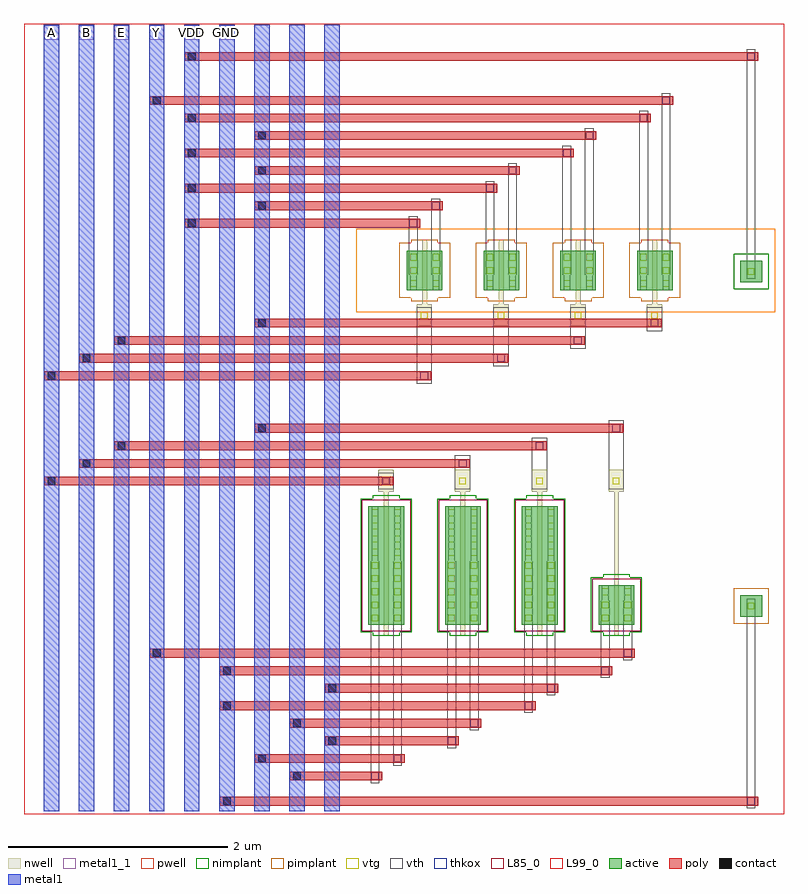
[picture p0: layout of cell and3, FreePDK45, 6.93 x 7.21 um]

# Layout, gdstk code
import gdstk
lib = gdstk.Library(unit=1e-6, precision=5e-10)
def R(c, l, rs):  # rectangles x0, y0, x1, y1
    for r in rs: c.add(gdstk.rectangle(r[:2], r[2:], *l))
def A(c, l, x, y, w, h, nx, ny, dx, dy):  # array of equal rectangles
    R(c, l, [(x+i*dx, y+j*dy, x+i*dx+w, y+j*dy+h) for i in range(nx) for j in range(ny)])
active = (1, 0)
pwell = (2, 0)
nwell = (3, 0)
nimplant = (4, 0)
pimplant = (5, 0)
vtg = (6, 0)
vth = (7, 0)
thkox = (8, 0)
poly = (9, 0)
contact = (10, 0)
metal1 = (11, 0)
metal1_1 = (11, 1)
L85_0 = (85, 0)
L99_0 = (99, 0)

nmos1v_cdns_794040155650 = lib.new_cell('nmos1v_CDNS_794040155650')
R(nmos1v_cdns_794040155650, active, [(-0.14,0,0,1.08), (0,0,0.045,1.08), (0.045,0,0.185,1.08)])
R(nmos1v_cdns_794040155650, nwell, [(0,-0.1,0.045,-0.05), (0,-0.05,0.045,0), (0,0,0.045,1.08), (0,1.08,0.045,1.13), (0,1.13,0.045,1.18)])
R(nmos1v_cdns_794040155650, nimplant, [(-0.1,-0.1,0.145,1.18), (-0.21,-0.07,0.255,1.15)])
A(nmos1v_cdns_794040155650, vtg, -0.11, 0.03, 0.06, 0.06, 1, 9, 0, 0.12)
A(nmos1v_cdns_794040155650, vtg, 0.095, 0.03, 0.06, 0.06, 1, 9, 0, 0.12)
R(nmos1v_cdns_794040155650, vth, [(-0.11,0,-0.05,1.08), (0.095,0,0.155,1.08)])
R(nmos1v_cdns_794040155650, L85_0, [(-0.2,-0.06,0.245,1.14)])

nmos1v_cdns_794040155651 = lib.new_cell('nmos1v_CDNS_794040155651')
R(nmos1v_cdns_794040155651, active, [(-0.14,0,0,0.36), (0,0,0.045,0.36), (0.045,0,0.185,0.36)])
R(nmos1v_cdns_794040155651, nwell, [(0,-0.1,0.045,-0.05), (0,-0.05,0.045,0), (0,0,0.045,0.36), (0,0.36,0.045,0.41), (0,0.41,0.045,0.46)])
R(nmos1v_cdns_794040155651, nimplant, [(-0.1,-0.1,0.145,0.46), (-0.21,-0.07,0.255,0.43)])
A(nmos1v_cdns_794040155651, vtg, -0.11, 0.03, 0.06, 0.06, 1, 3, 0, 0.12)
A(nmos1v_cdns_794040155651, vtg, 0.095, 0.03, 0.06, 0.06, 1, 3, 0, 0.12)
R(nmos1v_cdns_794040155651, vth, [(-0.11,0,-0.05,0.36), (0.095,0,0.155,0.36)])
R(nmos1v_cdns_794040155651, L85_0, [(-0.2,-0.06,0.245,0.42)])

pmos1v_cdns_794040155652 = lib.new_cell('pmos1v_CDNS_794040155652')
R(pmos1v_cdns_794040155652, active, [(-0.14,0,0,0.36), (0,0,0.045,0.36), (0.045,0,0.185,0.36)])
R(pmos1v_cdns_794040155652, pwell, [(-0.2,-0.06,0.245,0.42)])
R(pmos1v_cdns_794040155652, nwell, [(0,-0.1,0.045,-0.05), (0,-0.05,0.045,0), (0,0,0.045,0.36), (0,0.36,0.045,0.41), (0,0.41,0.045,0.46)])
R(pmos1v_cdns_794040155652, pimplant, [(-0.1,-0.1,0.145,0.46), (-0.21,-0.07,0.255,0.43)])
A(pmos1v_cdns_794040155652, vtg, -0.11, 0.03, 0.06, 0.06, 1, 3, 0, 0.12)
A(pmos1v_cdns_794040155652, vtg, 0.095, 0.03, 0.06, 0.06, 1, 3, 0, 0.12)
R(pmos1v_cdns_794040155652, vth, [(-0.11,0,-0.05,0.36), (0.095,0,0.155,0.36)])

and3 = lib.new_cell('and3')
R(and3, active, [(6.53,1.8,6.73,2), (6.53,4.85,6.73,5.05)])
R(and3, pwell, [(3.03,4.58,6.85,5.34)])
A(and3, nwell, 3.28, 2.86, 0.045, 0.28, 3, 1, 0.7, 0)
A(and3, nwell, 3.23, 2.94, 0.14, 0.2, 4, 1, 0.7, 0)
A(and3, nwell, 3.58, 4.45, 0.14, 0.2, 4, 1, 0.7, 0)
A(and3, nwell, 3.63, 4.45, 0.045, 0.28, 4, 1, 0.7, 0)
R(and3, nwell, [(5.38,2.14,5.425,3.14)])
R(and3, nimplant, [(6.47,4.79,6.79,5.11)])
R(and3, pimplant, [(6.47,1.74,6.79,2.06)])
A(and3, vtg, 3.27, 3.01, 0.06, 0.06, 4, 1, 0.7, 0)
A(and3, vtg, 3.62, 4.52, 0.06, 0.06, 4, 1, 0.7, 0)
R(and3, vtg, [(6.6,1.87,6.66,1.93), (6.6,4.92,6.66,4.98)])
A(and3, vth, 3.23, 2.965, 0.14, 0.15, 4, 1, 0.7, 0)
A(and3, vth, 3.58, 4.475, 0.14, 0.15, 4, 1, 0.7, 0)
R(and3, vth, [(6.59,0.055,6.67,0.185), (6.59,0.08,6.67,1.94), (3.16,0.285,3.24,0.415), (3.16,0.31,3.24,2.31), (3.365,0.445,3.445,0.575), (3.365,0.47,3.445,2.31), (3.86,0.605,3.94,0.735), (3.86,0.63,3.94,2.31), (4.065,0.765,4.145,0.895), (4.065,0.79,4.145,2.31), (4.56,0.925,4.64,1.055), (4.56,0.95,4.64,2.31), (4.765,1.085,4.845,1.215), (4.765,1.11,4.845,2.31), (5.26,1.245,5.34,1.375), (5.26,1.27,5.34,1.95), (5.465,1.405,5.545,1.535), (5.465,1.43,5.545,1.95), (6.59,1.835,6.67,1.965), (3.23,2.965,3.37,3.115), (3.23,2.97,3.37,3.11), (3.93,2.97,4.07,3.27), (4.63,2.97,4.77,3.43), (5.33,2.97,5.47,3.59), (3.93,3.125,4.07,3.275), (4.63,3.285,4.77,3.435), (5.33,3.445,5.47,3.595), (3.58,3.925,3.72,4.075), (3.58,3.93,3.72,4.62), (4.28,4.085,4.42,4.235), (4.28,4.09,4.42,4.62), (4.98,4.245,5.12,4.395), (4.98,4.25,5.12,4.62), (5.68,4.405,5.82,4.555), (5.68,4.41,5.82,4.62), (6.59,4.885,6.67,5.015), (6.59,4.91,6.67,6.95), (3.51,4.92,3.59,5.43), (3.715,4.92,3.795,5.59), (4.21,4.92,4.29,5.75), (4.415,4.92,4.495,5.91), (4.91,4.92,4.99,6.07), (5.115,4.92,5.195,6.23), (5.61,4.92,5.69,6.39), (5.815,4.92,5.895,6.55), (3.51,5.325,3.59,5.455), (3.715,5.485,3.795,5.615), (4.21,5.645,4.29,5.775), (4.415,5.805,4.495,5.935), (4.91,5.965,4.99,6.095), (5.115,6.125,5.195,6.255), (5.61,6.285,5.69,6.415), (5.815,6.445,5.895,6.575), (6.59,6.845,6.67,6.975)])
R(and3, thkox, [(6.595,0.085,6.665,0.155), (3.165,0.315,3.235,0.385), (3.37,0.475,3.44,0.545), (3.865,0.635,3.935,0.705), (4.07,0.795,4.14,0.865), (4.565,0.955,4.635,1.025), (4.77,1.115,4.84,1.185), (5.265,1.275,5.335,1.345), (5.47,1.435,5.54,1.505), (3.265,3.005,3.335,3.075), (3.965,3.165,4.035,3.235), (4.665,3.325,4.735,3.395), (5.365,3.485,5.435,3.555), (3.615,3.965,3.685,4.035), (4.315,4.125,4.385,4.195), (5.015,4.285,5.085,4.355), (5.715,4.445,5.785,4.515), (3.515,5.355,3.585,5.425), (3.72,5.515,3.79,5.585), (4.215,5.675,4.285,5.745), (4.42,5.835,4.49,5.905), (4.915,5.995,4.985,6.065), (5.12,6.155,5.19,6.225), (5.615,6.315,5.685,6.385), (5.82,6.475,5.89,6.545), (6.595,6.875,6.665,6.945)])
A(and3, poly, 1.465, 5.35, 0.13, 0.08, 1, 4, 0, 0.32)
A(and3, poly, 2.105, 5.51, 0.13, 0.08, 1, 3, 0, 0.32)
R(and3, poly, [(1.785,0.08,1.915,0.16), (1.81,0.08,6.67,0.16), (6.565,0.08,6.695,0.16), (2.425,0.31,2.555,0.39), (2.45,0.31,3.24,0.39), (3.135,0.31,3.265,0.39), (2.105,0.47,2.235,0.55), (2.13,0.47,3.445,0.55), (3.34,0.47,3.47,0.55), (2.745,0.63,2.875,0.71), (2.77,0.63,3.94,0.71), (3.835,0.63,3.965,0.71), (2.425,0.79,2.555,0.87), (2.45,0.79,4.145,0.87), (4.04,0.79,4.17,0.87), (1.785,0.95,1.915,1.03), (1.81,0.95,4.64,1.03), (4.535,0.95,4.665,1.03), (2.745,1.11,2.875,1.19), (2.77,1.11,4.845,1.19), (4.74,1.11,4.87,1.19), (1.785,1.27,1.915,1.35), (1.81,1.27,5.34,1.35), (5.235,1.27,5.365,1.35), (1.145,1.43,1.275,1.51), (1.17,1.43,5.545,1.51), (5.44,1.43,5.57,1.51), (0.185,3,0.315,3.08), (0.21,3,3.34,3.08), (3.235,3,3.365,3.08), (0.505,3.16,0.635,3.24), (0.53,3.16,4.04,3.24), (3.935,3.16,4.065,3.24), (0.825,3.32,0.955,3.4), (0.85,3.32,4.74,3.4), (4.635,3.32,4.765,3.4), (2.105,3.48,2.235,3.56), (2.13,3.48,5.44,3.56), (5.335,3.48,5.465,3.56), (0.185,3.96,0.315,4.04), (0.21,3.96,3.69,4.04), (3.585,3.96,3.715,4.04), (0.505,4.12,0.635,4.2), (0.53,4.12,4.39,4.2), (4.285,4.12,4.415,4.2), (0.825,4.28,0.955,4.36), (0.85,4.28,5.09,4.36), (4.985,4.28,5.115,4.36), (2.105,4.44,2.235,4.52), (2.13,4.44,5.79,4.52), (5.685,4.44,5.815,4.52), (1.49,5.35,3.59,5.43), (3.485,5.35,3.615,5.43), (2.13,5.51,3.795,5.59), (3.69,5.51,3.82,5.59), (1.49,5.67,4.29,5.75), (4.185,5.67,4.315,5.75), (2.13,5.83,4.495,5.91), (4.39,5.83,4.52,5.91), (1.49,5.99,4.99,6.07), (4.885,5.99,5.015,6.07), (2.13,6.15,5.195,6.23), (5.09,6.15,5.22,6.23), (1.49,6.31,5.69,6.39), (5.585,6.31,5.715,6.39), (1.145,6.47,1.275,6.55), (1.17,6.47,5.895,6.55), (5.79,6.47,5.92,6.55), (1.465,6.87,1.595,6.95), (1.49,6.87,6.67,6.95), (6.565,6.87,6.695,6.95)])
A(and3, contact, 1.495, 5.355, 0.07, 0.07, 1, 4, 0, 0.32)
A(and3, contact, 2.135, 5.515, 0.07, 0.07, 1, 3, 0, 0.32)
R(and3, contact, [(1.815,0.085,1.885,0.155), (2.455,0.315,2.525,0.385), (2.135,0.475,2.205,0.545), (2.775,0.635,2.845,0.705), (2.455,0.795,2.525,0.865), (1.815,0.955,1.885,1.025), (2.775,1.115,2.845,1.185), (1.815,1.275,1.885,1.345), (1.175,1.435,1.245,1.505), (0.215,3.005,0.285,3.075), (0.535,3.165,0.605,3.235), (0.855,3.325,0.925,3.395), (2.135,3.485,2.205,3.555), (0.215,3.965,0.285,4.035), (0.535,4.125,0.605,4.195), (0.855,4.285,0.925,4.355), (2.135,4.445,2.205,4.515), (1.175,6.475,1.245,6.545), (1.495,6.875,1.565,6.945)])
A(and3, metal1, 0.18, 0.03, 0.14, 7.17, 9, 1, 0.32, 0)
A(and3, metal1, 1.49, 5.325, 0.08, 0.13, 1, 4, 0, 0.32)
A(and3, metal1, 2.13, 5.485, 0.08, 0.13, 1, 3, 0, 0.32)
R(and3, metal1, [(1.81,0.055,1.89,0.185), (2.45,0.285,2.53,0.415), (2.13,0.445,2.21,0.575), (2.77,0.605,2.85,0.735), (2.45,0.765,2.53,0.895), (1.81,0.925,1.89,1.055), (2.77,1.085,2.85,1.215), (1.81,1.245,1.89,1.375), (1.17,1.405,1.25,1.535), (0.21,2.975,0.29,3.105), (0.53,3.135,0.61,3.265), (0.85,3.295,0.93,3.425), (2.13,3.455,2.21,3.585), (0.21,3.935,0.29,4.065), (0.53,4.095,0.61,4.225), (0.85,4.255,0.93,4.385), (2.13,4.415,2.21,4.545), (1.17,6.445,1.25,6.575), (1.49,6.845,1.57,6.975)])
A(and3, metal1_1, 0.185, 7.065, 0.13, 0.13, 6, 1, 0.32, 0)
R(and3, L99_0, [(0,0,6.93,7.21)])
and3.add(gdstk.Reference(nmos1v_cdns_794040155650, (4.68,1.73)))
and3.add(gdstk.Reference(nmos1v_cdns_794040155650, (3.98,1.73)))
and3.add(gdstk.Reference(nmos1v_cdns_794040155650, (3.28,1.73)))
and3.add(gdstk.Reference(nmos1v_cdns_794040155651, (5.38,1.73)))
and3.add(gdstk.Reference(pmos1v_cdns_794040155652, (5.73,4.78)))
and3.add(gdstk.Reference(pmos1v_cdns_794040155652, (5.03,4.78)))
and3.add(gdstk.Reference(pmos1v_cdns_794040155652, (4.33,4.78)))
and3.add(gdstk.Reference(pmos1v_cdns_794040155652, (3.63,4.78)))
and3.add(gdstk.Label('GND', (1.85,7.13), layer=11, texttype=3))
and3.add(gdstk.Label('VDD', (1.53,7.13), layer=11, texttype=3))
and3.add(gdstk.Label('Y', (1.21,7.13), layer=11, texttype=3))
and3.add(gdstk.Label('E', (0.89,7.13), layer=11, texttype=3))
and3.add(gdstk.Label('B', (0.57,7.13), layer=11, texttype=3))
and3.add(gdstk.Label('A', (0.25,7.13), layer=11, texttype=3))

lib.write_gds('and3.gds')
